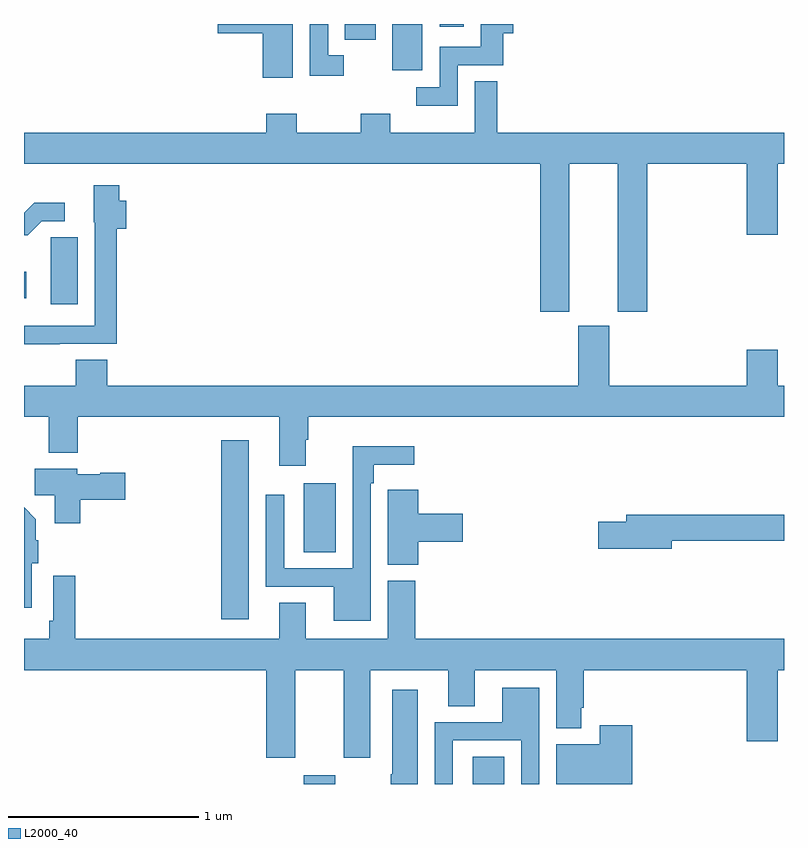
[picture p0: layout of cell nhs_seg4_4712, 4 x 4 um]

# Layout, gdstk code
import gdstk
lib = gdstk.Library(unit=1e-6, precision=1e-09)
def R(c, l, rs):  # rectangles x0, y0, x1, y1
    for r in rs: c.add(gdstk.rectangle(r[:2], r[2:], *l))
def P(c, l, *ps):  # polygons
    for p in ps: c.add(gdstk.Polygon(p, *l))
L2000_40 = (2000, 40)

nhs_seg4_4712 = lib.new_cell('nhs_seg4_4712')
R(nhs_seg4_4712, L2000_40, [(366.473,782.9,366.637,782.947), (367.361,782.9,367.528,783.044), (366.038,783.768,366.184,784.708), (366.473,784.12,366.64,784.483), (365,785.456,365.011,785.596), (366.938,786.657,367.096,786.9), (366.689,786.816,366.85,786.9), (367.188,786.885,367.315,786.9)])
P(nhs_seg4_4712, L2000_40, [(366.682,786.735),(366.6,786.735),(366.6,786.9),(366.504,786.9),(366.504,786.627),(366.682,786.627)],
  [(366.415,786.9),(366.02,786.9),(366.02,786.851),(366.257,786.851),(366.257,786.618),(366.415,786.618)],
  [(367.284,786.684),(367.522,786.684),(367.522,786.851),(367.574,786.851),(367.574,786.9),(367.403,786.9),(367.403,786.78),(367.188,786.78),(367.188,786.567),(367.065,786.567),(367.065,786.47),(367.284,786.47)],
  [(367.87,786.164),(368.126,786.164),(368.126,785.385),(368.279,785.385),(368.279,786.164),(368.804,786.164),(368.804,785.79),(368.968,785.79),(368.968,786.164),(369,786.164),(369,786.328),(367.492,786.328),(367.492,786.599),(367.373,786.599),(367.373,786.328),(366.927,786.328),(366.927,786.427),(366.772,786.427),(366.772,786.328),(366.435,786.328),(366.435,786.427),(366.275,786.427),(366.275,786.328),(365,786.328),(365,786.164),(367.718,786.164),(367.718,785.385),(367.87,785.385)],
  [(365.189,785.217),(365.489,785.217),(365.489,785.822),(365.537,785.822),(365.537,785.97),(365.502,785.97),(365.502,786.052),(365.366,786.052),(365.366,785.856),(365.373,785.856),(365.373,785.313),(365,785.313),(365,785.215),(365.189,785.215)],
  [(365.094,785.862),(365.215,785.862),(365.215,785.959),(365.053,785.959),(365,785.906),(365,785.789),(365.021,785.789)],
  [(365.284,785.777),(365.142,785.777),(365.142,785.666),(365.141,785.666),(365.141,785.424),(365.284,785.424)],
  [(366.484,784.712),(366.497,784.712),(366.497,784.832),(369,784.832),(369,784.996),(368.968,784.996),(368.968,785.185),(368.804,785.185),(368.804,784.996),(368.08,784.996),(368.08,785.313),(367.916,785.313),(367.916,784.996),(365.438,784.996),(365.438,785.132),(365.273,785.132),(365.273,784.996),(365,784.996),(365,784.832),(365.129,784.832),(365.129,784.643),(365.282,784.643),(365.282,784.832),(366.344,784.832),(366.344,784.575),(366.484,784.575)],
  [(366.825,784.484),(366.841,784.484),(366.841,784.58),(367.054,784.58),(367.054,784.678),(366.729,784.678),(366.729,784.035),(366.369,784.035),(366.369,784.423),(366.273,784.423),(366.273,783.939),(366.629,783.939),(366.629,783.758),(366.825,783.758)],
  [(365.297,784.397),(365.533,784.397),(365.533,784.539),(365.4,784.539),(365.4,784.531),(365.28,784.531),(365.28,784.558),(365.057,784.558),(365.057,784.42),(365.162,784.42),(365.162,784.272),(365.297,784.272)],
  [(367.076,784.175),(367.309,784.175),(367.309,784.322),(367.076,784.322),(367.076,784.45),(366.915,784.45),(366.915,784.337),(366.914,784.337),(366.914,784.054),(367.076,784.054)],
  [(365.041,784.062),(365.075,784.062),(365.075,784.184),(365.062,784.184),(365.062,784.294),(365,784.356),(365,783.828),(365.041,783.828)],
  [(368.41,784.18),(369,784.18),(369,784.316),(368.171,784.316),(368.171,784.28),(368.022,784.28),(368.022,784.138),(368.41,784.138)],
  [(366.427,783.5),(366.683,783.5),(366.683,783.039),(366.823,783.039),(366.823,783.5),(367.232,783.5),(367.232,783.31),(367.372,783.31),(367.372,783.5),(367.802,783.5),(367.802,783.194),(367.933,783.194),(367.933,783.301),(367.946,783.301),(367.946,783.5),(368.804,783.5),(368.804,783.126),(368.968,783.126),(368.968,783.5),(369,783.5),(369,783.664),(367.058,783.664),(367.058,783.969),(366.914,783.969),(366.914,783.664),(366.484,783.664),(366.484,783.854),(366.344,783.854),(366.344,783.664),(365.27,783.664),(365.27,783.997),(365.154,783.997),(365.154,783.76),(365.134,783.76),(365.134,783.664),(365,783.664),(365,783.5),(366.275,783.5),(366.275,783.039),(366.427,783.039)],
  [(367.257,783.129),(367.617,783.129),(367.617,782.9),(367.713,782.9),(367.713,783.406),(367.517,783.406),(367.517,783.225),(367.161,783.225),(367.161,782.9),(367.257,782.9)],
  [(367.072,783.397),(366.938,783.397),(366.938,782.951),(366.931,782.951),(366.931,782.9),(367.072,782.9)],
  [(368.201,783.208),(368.03,783.208),(368.03,783.109),(367.802,783.109),(367.802,782.9),(368.201,782.9)])

lib.write_gds('nhs_seg4_4712.gds')
